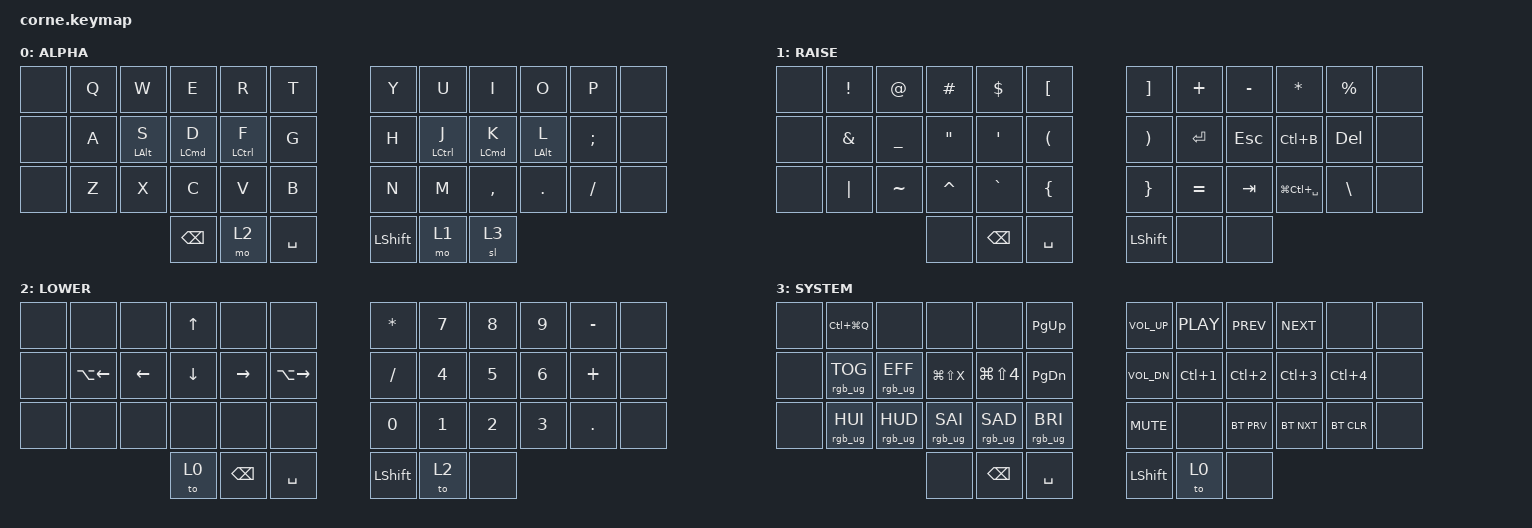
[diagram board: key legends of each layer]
#include <behaviors.dtsi>
#include <dt-bindings/zmk/bt.h>
#include <dt-bindings/zmk/keys.h>
#include <dt-bindings/zmk/rgb.h>

#define L0 0
#define L1 1
#define L2 2
#define L3 3
#define KEYS_L 0 1 2 3 4 5 12 13 14 15 16 17 24 25 26 27 28 29 36 37 38
#define KEYS_R 6 7 8 9 10 11 18 19 20 21 22 23 30 31 32 33 34 35 39 40 41

/ {
    behaviors {
        /**
     * Left hand positional hold tap, used for home block modifiers
     */

        lhr: left_hand_positional_hold_tap {
            compatible = "zmk,behavior-hold-tap";
            label = "LEFT_POSITIONAL_HOLD_TAP";
            #binding-cells = <2>;
            flavor = "balanced";
            tapping-term-ms = <300>;
            quick-tap-ms = <200>;
            global-quick-tap;
            bindings = <&kp>, <&kp>;

            hold-trigger-key-positions = <KEYS_R>;
            hold-trigger-on-release;
        };

        /**
     * Right hand positional hold tap, used for home block modifiers
     */

        rhr: right_hand_positional_hold_tap {
            compatible = "zmk,behavior-hold-tap";
            label = "RIGHT_POSITIONAL_HOLD_TAP";
            #binding-cells = <2>;
            flavor = "balanced";
            tapping-term-ms = <300>;
            quick-tap-ms = <200>;
            global-quick-tap;
            bindings = <&kp>, <&kp>;

            hold-trigger-key-positions = <KEYS_L>;
            hold-trigger-on-release;
        };
    };

    keymap {
        compatible = "zmk,keymap";

        /**
     * Alpha layer (L0)
     */

        layer_0 {
            label = "ALPHA";
            bindings = <
&none  &kp Q  &kp W        &kp E        &kp R         &kp T        &kp Y           &kp U         &kp I        &kp O        &kp P      &none
&none  &kp A  &lhr LALT S  &lhr LCMD D  &lhr LCTRL F  &kp G        &kp H           &rhr LCTRL J  &rhr LCMD K  &rhr LALT L  &kp SEMI   &none
&none  &kp Z  &kp X        &kp C        &kp V         &kp B        &kp N           &kp M         &kp COMMA    &kp DOT      &kp SLASH  &none
                           &kp BSPC     &mo L2        &kp SPACE    &kp LEFT_SHIFT  &mo L1        &sl L3
            >;
        };

        /**
     * Symbols layer (L1)
     */

        layer_1 {
            label = "RAISE";
            bindings = <
&none  &kp EXCL  &kp AT     &kp HASH   &kp DOLLAR  &kp LBKT     &kp RBKT        &kp PLUS   &kp MINUS  &kp ASTRK          &kp PRCNT  &none
&none  &kp AMPS  &kp UNDER  &kp DQT    &kp SQT     &kp LPAR     &kp RPAR        &kp ENTER  &kp ESC    &kp LC(B)          &kp DEL    &none
&none  &kp PIPE  &kp TILDE  &kp CARET  &kp GRAVE   &kp LBRC     &kp RBRC        &kp EQUAL  &kp TAB    &kp LG(LC(SPACE))  &kp BSLH   &none
                            &none      &kp BSPC    &kp SPACE    &kp LEFT_SHIFT  &none      &none
            >;
        };

        /**
     * Number and directions layer (L2)
     */

        layer_2 {
            label = "LOWER";
            bindings = <
&none  &none         &none     &kp UP    &none      &none            &kp ASTRK       &kp N7  &kp N8  &kp N9  &kp MINUS  &none
&none  &kp LA(LEFT)  &kp LEFT  &kp DOWN  &kp RIGHT  &kp LA(RIGHT)    &kp SLASH       &kp N4  &kp N5  &kp N6  &kp PLUS   &none
&none  &none         &none     &none     &none      &none            &kp N0          &kp N1  &kp N2  &kp N3  &kp DOT    &none
                               &to L0    &kp BSPC   &kp SPACE        &kp LEFT_SHIFT  &to L2  &none
            >;
        };

        /**
     * Controls layer that contains OS controls (bluetooth, mute, play, etc.) (L3)
     */

        layer_3 {
            label = "SYSTEM";
            bindings = <
&none  &kp LC(LG(Q))    &none            &none            &none            &kp PG_UP          &kp C_VOL_UP    &kp C_PLAY  &kp C_PREV  &kp C_NEXT  &none       &none
&none  &rgb_ug RGB_TOG  &rgb_ug RGB_EFF  &kp LG(LS(X))    &kp LG(LS(N4))   &kp PG_DN          &kp C_VOL_DN    &kp LC(N1)  &kp LC(N2)  &kp LC(N3)  &kp LC(N4)  &none
&none  &rgb_ug RGB_HUI  &rgb_ug RGB_HUD  &rgb_ug RGB_SAI  &rgb_ug RGB_SAD  &rgb_ug RGB_BRI    &kp C_MUTE      &none       &bt BT_PRV  &bt BT_NXT  &bt BT_CLR  &none
                                         &none            &kp BSPC         &kp SPACE          &kp LEFT_SHIFT  &to L0      &none
            >;
        };
    };
};
